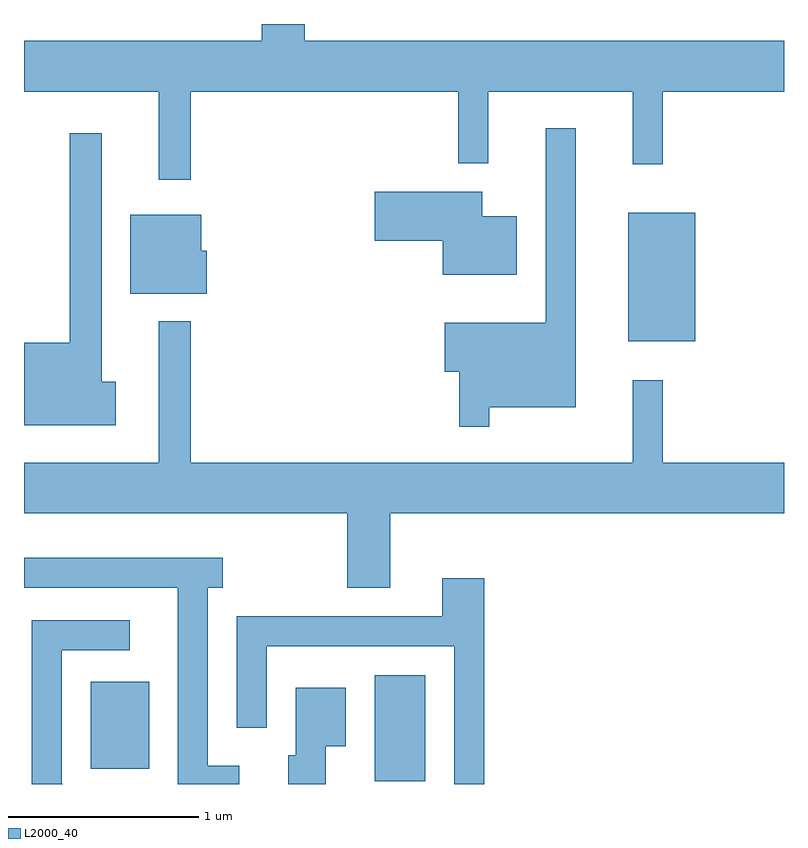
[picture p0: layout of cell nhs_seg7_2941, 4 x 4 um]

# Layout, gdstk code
import gdstk
lib = gdstk.Library(unit=1e-6, precision=1e-09)
def R(c, l, rs):  # rectangles x0, y0, x1, y1
    for r in rs: c.add(gdstk.rectangle(r[:2], r[2:], *l))
def P(c, l, *ps):  # polygons
    for p in ps: c.add(gdstk.Polygon(p, *l))
L2000_40 = (2000, 40)

nhs_seg7_2941 = lib.new_cell('nhs_seg7_2941')
R(nhs_seg7_2941, L2000_40, [(277.456,1686.266,277.724,1686.824), (275.961,1686.331,276.269,1686.789), (278.791,1688.581,279.144,1689.259)])
P(nhs_seg7_2941, L2000_40, [(277.089,1690.252),(276.861,1690.252),(276.861,1690.164),(275.611,1690.164),(275.611,1689.896),(276.321,1689.896),(276.321,1689.433),(276.489,1689.433),(276.489,1689.896),(277.896,1689.896),(277.896,1689.518),(278.054,1689.518),(278.054,1689.896),(278.816,1689.896),(278.816,1689.513),(278.974,1689.513),(278.974,1689.896),(279.611,1689.896),(279.611,1690.164),(277.089,1690.164)],
  [(278.059,1688.236),(278.514,1688.236),(278.514,1689.703),(278.356,1689.703),(278.356,1688.679),(277.826,1688.679),(277.826,1688.421),(277.901,1688.421),(277.901,1688.133),(278.059,1688.133)],
  [(276.094,1688.369),(276.019,1688.369),(276.019,1689.678),(275.851,1689.678),(275.851,1688.574),(275.611,1688.574),(275.611,1688.141),(276.094,1688.141)],
  [(278.204,1689.239),(278.024,1689.239),(278.024,1689.369),(277.456,1689.369),(277.456,1689.111),(277.816,1689.111),(277.816,1688.931),(278.204,1688.931)],
  [(276.574,1689.059),(276.544,1689.059),(276.544,1689.249),(276.171,1689.249),(276.171,1688.831),(276.574,1688.831)],
  [(277.539,1687.676),(279.611,1687.676),(279.611,1687.944),(278.974,1687.944),(278.974,1688.378),(278.816,1688.378),(278.816,1687.944),(276.489,1687.944),(276.489,1688.688),(276.321,1688.688),(276.321,1687.944),(275.611,1687.944),(275.611,1687.676),(277.311,1687.676),(277.311,1687.286),(277.539,1687.286)],
  [(276.743,1686.349),(276.579,1686.349),(276.579,1687.286),(276.658,1687.286),(276.658,1687.444),(275.611,1687.444),(275.611,1687.286),(276.421,1687.286),(276.421,1686.252),(276.743,1686.252)],
  [(278.034,1687.334),(277.811,1687.334),(277.811,1687.134),(276.731,1687.134),(276.731,1686.548),(276.889,1686.548),(276.889,1686.976),(277.876,1686.976),(277.876,1686.252),(278.034,1686.252)],
  [(275.809,1686.257),(275.809,1686.956),(276.168,1686.956),(276.168,1687.114),(275.651,1687.114),(275.651,1686.252),(275.814,1686.252)],
  [(277.199,1686.451),(277.304,1686.451),(277.304,1686.759),(277.041,1686.759),(277.041,1686.404),(277.001,1686.404),(277.001,1686.252),(277.199,1686.252)])

lib.write_gds('nhs_seg7_2941.gds')
